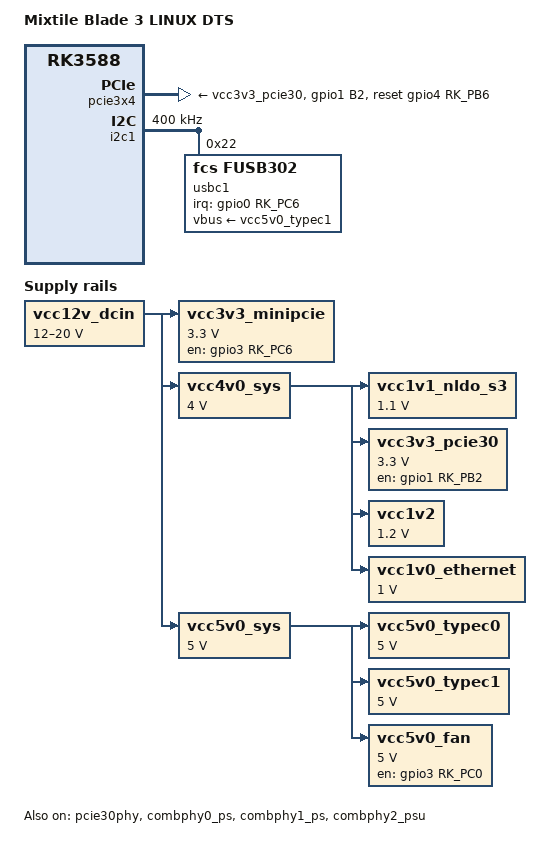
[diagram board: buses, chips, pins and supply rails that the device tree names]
// SPDX-License-Identifier: (GPL-2.0+ OR MIT)
/*
 * Copyright (c) 2022 Mixtile Limited
 *
 */

/dts-v1/;
#include <dt-bindings/gpio/gpio.h>
#include <dt-bindings/pinctrl/rockchip.h>
#include "rk3588.dtsi"

/ {
	model = "Mixtile Blade 3 LINUX DTS";
	compatible = "mixtile,blade3", "rockchip,rk3588";

	// TODO
	aliases {
		mmc0 = &sdhci;
		mmc1 = &sdmmc;
		serial2 = &uart2;
	};

	chosen {
		stdout-path = "serial2:1500000n8";
	};

	// Note: The power tree at the top of the Blade 3 schematic
	// does not accurately represent what the schematic shows.
	// This is based off the actual schematic diagrams in the
	// v1.2.0 Blade 3 schematic.

	// External power source
	// VIN_12_20V rail
	vcc12v_dcin: vcc12v-dcin-regulator {
		compatible = "regulator-fixed";
		regulator-name = "vcc12v_dcin";
		regulator-always-on;
		regulator-boot-on;
		regulator-min-microvolt = <12000000>;
		regulator-max-microvolt = <20000000>;
	};

	// U25 buck regulator
	vcc3v3_minipcie: vcc3v3-minipcie-regulator {
		compatible = "regulator-fixed";
		regulator-name = "vcc3v3_minipcie";
		regulator-min-microvolt = <3300000>;
		regulator-max-microvolt = <3300000>;
		vin-supply = <&vcc12v_dcin>;
		enable-active-high;
		gpio = <&gpio3 RK_PC6 GPIO_ACTIVE_HIGH>;
		pinctrl-names = "default";
		pinctrl-0 = <&vcc3v3_minipcie_en>;
	};

	// U15 buck regulator
	// Only turns on when 5V5 < VIN_12_20V < 26V0
	vcc4v0_sys: vcc4v0-sys-regulator {
		compatible = "regulator-fixed";
		regulator-name = "vcc4v0_sys";
		regulator-always-on;
		regulator-boot-on;
		regulator-min-microvolt = <4000000>;
		regulator-max-microvolt = <4000000>;
		vin-supply = <&vcc12v_dcin>;
	};

	// TODO link vcc4v0_sys to PMU as it's used for
	// basically every input

	// U6 buck regulator
	vcc1v1_nldo_s3: vcc1v1-nldo-s3-regulator {
		compatible = "regulator-fixed";
		regulator-name = "vcc1v1_nldo_s3";
		vin-supply = <&vcc4v0_sys>;
		regulator-always-on;
		regulator-boot-on;
		regulator-min-microvolt = <1100000>;
		regulator-max-microvolt = <1100000>;
	};

	// U12 LDO regulator
	// Used for U13 PCIe clock multiplexer
	vcc3v3_pcie30: vcc3v3-pcie30-regulator {
		compatible = "regulator-fixed";
		regulator-name = "vcc3v3_pcie30";
		vin-supply = <&vcc4v0_sys>;
		regulator-min-microvolt = <3300000>;
		regulator-max-microvolt = <3300000>;
		startup-delay-us = <5000>;
		regulator-boot-on;
		regulator-always-on;
		enable-active-high;
		gpio = <&gpio1 RK_PB2 GPIO_ACTIVE_HIGH>;
		pinctrl-names = "default";
		pinctrl-0 = <&vcc3v3_pcie30_en>;
	};

	// U21 buck regulator
	// Used for U20 PCIe 2.0 switch
	vcc1v2: vcc1v2-regulator {
		compatible = "regulator-fixed";
		regulator-name = "vcc1v2";
		vin-supply = <&vcc4v0_sys>;
		regulator-always-on;
		regulator-boot-on;
		regulator-min-microvolt = <1200000>;
		regulator-max-microvolt = <1200000>;
	};

	// U24 buck regulator
	// Used for U22, U23 ethernet controllers
	vcc1v0_ethernet: vcc1v0-ethernet-regulator {
		compatible = "regulator-fixed";
		regulator-name = "vcc1v0_ethernet";
		vin-supply = <&vcc4v0_sys>;
		regulator-always-on;
		regulator-boot-on;
		regulator-min-microvolt = <1000000>;
		regulator-max-microvolt = <1000000>;
	};

	// U14 buck regulator
	// Used for:
	// * J2 U.2 connector
	// * J3B HDMI TX port power and level translation
	// * U17 USB type 3 power delivery controller when in host mode, for USB type C port 0
	// * U19 USB type 3 power delivery controller when in host mode, for USB type C port 1
	// * J7 MIPI CSI ribbon cable port
	// * J10 30 pin header 5V0 pin
	vcc5v0_sys: vcc5v0-sys-regulator {
		compatible = "regulator-fixed";
		regulator-name = "vcc5v0_sys";
		regulator-always-on;
		regulator-boot-on;
		regulator-min-microvolt = <5000000>;
		regulator-max-microvolt = <5000000>;
		vin-supply = <&vcc12v_dcin>;
	};

	// U16 power switch
	// Used for J4 USB type C port 0 power
	vcc5v0_typec0: vcc5v0-typec0-regulator {
		compatible = "regulator-fixed";
		regulator-name = "vcc5v0_typec0";
		vin-supply = <&vcc5v0_sys>;
		regulator-min-microvolt = <5000000>;
		regulator-max-microvolt = <5000000>;
	};

	// U18 power switch
	// Used for J4 USB type C port 1 power
	vcc5v0_typec1: vcc5v0-typec1-regulator {
		compatible = "regulator-fixed";
		regulator-name = "vcc5v0_typec1";
		vin-supply = <&vcc5v0_sys>;
		regulator-min-microvolt = <5000000>;
		regulator-max-microvolt = <5000000>;
	};

	// U26 power switch
	// Used for J12 fan header power
	vcc5v0_fan: vcc5v0-fan-regulator {
		compatible = "regulator-fixed";
		regulator-name = "vcc5v0_fan";
		vin-supply = <&vcc5v0_sys>;
		regulator-min-microvolt = <5000000>;
		regulator-max-microvolt = <5000000>;
		enable-active-high;
		regulator-boot-on;
		gpio = <&gpio3 RK_PC0 GPIO_ACTIVE_HIGH>;
		pinctrl-names = "default";
		pinctrl-0 = <&vcc5v0_fan_en>;
	};
};

&pcie3x4 {
	pinctrl-names = "default";
	pinctrl-0 = <&vcc3v3_pcie30_en>;
	reset-gpios = <&gpio4 RK_PB6 GPIO_ACTIVE_HIGH>;
	vpcie3v3-supply = <&vcc3v3_pcie30>;
	status = "okay";
};

&pcie30phy {
	status = "okay";
};

// Used for U.2 SATA
&combphy0_ps {
	status = "okay";
};

// Used for ethernet controller PCIe switch
&combphy1_ps {
	status = "okay";
};

// Used for Mini PCIe slot
&combphy2_psu {
	status = "okay";
};

// Used for RK860  power regulator, and USB type C port 1 power distribution controller
&i2c1 {
	status = "okay";

	clock-frequency = <400000>;
	i2c-scl-rising-time-ns = <160>;
	i2c-scl-falling-time-ns = <30>;

	usbc1: fusb302@22 {
		compatible = "fcs,fusb302";
		reg = <0x22>;
		interrupt-parent = <&gpio0>;
		interrupts = <RK_PC6 IRQ_TYPE_LEVEL_LOW>;
		pinctrl-names = "default";
		pinctrl-0 = <&usbc1_int>;
		vbus-supply = <&vcc5v0_typec1>;
		status = "okay";
	};
};

&pinctrl {
	usb-typec {
		usbc1_int: usbc1-int {
			rockchip,pins = <0 RK_PC6 RK_FUNC_GPIO &pcfg_pull_up>;
		};
	};

	pcie {
		vcc3v3_pcie30_en: vcc3v3-pcie30-en {
			rockchip,pins = <1 RK_PB2 RK_FUNC_GPIO &pcfg_pull_up>;
		};
	};

	mini-pcie {
		vcc3v3_minipcie_en: vcc3v3-minipcie-en {
			// Pulled down by R334
			rockchip,pins = <3 RK_PC6 RK_FUNC_GPIO &pcfg_pull_none>;
		};
	};

	fan {
		vcc5v0_fan_en: vcc5v0-fan-en {
			// Pulled up by R310
			rockchip,pins = <3 RK_PC0 RK_FUNC_GPIO &pcfg_pull_none>;
		};
	};
};
